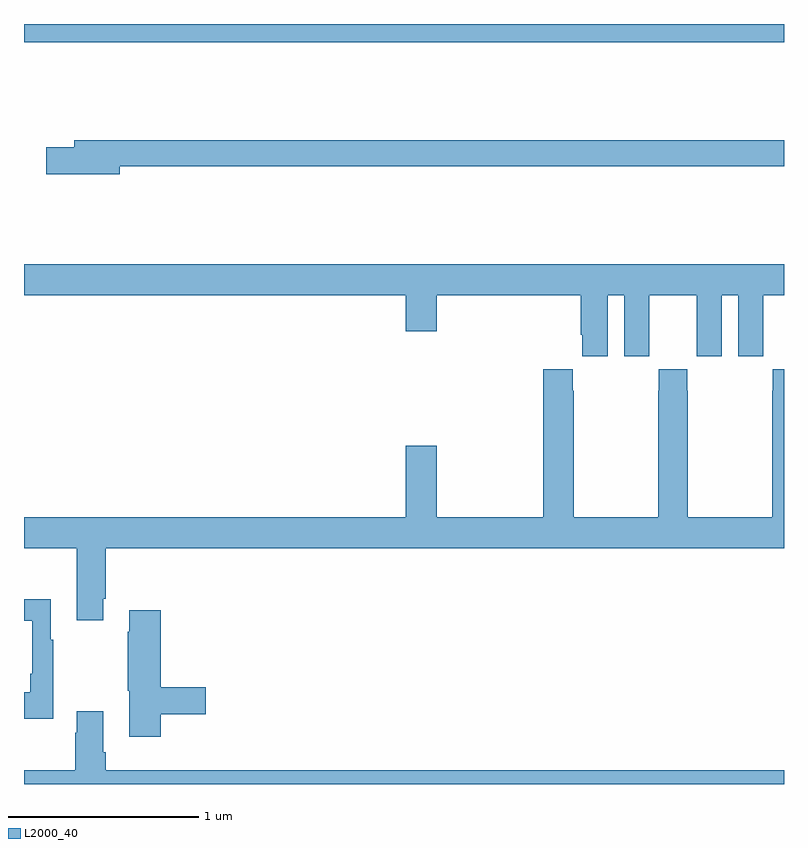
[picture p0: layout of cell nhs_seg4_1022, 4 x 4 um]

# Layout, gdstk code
import gdstk
lib = gdstk.Library(unit=1e-6, precision=1e-09)
def R(c, l, rs):  # rectangles x0, y0, x1, y1
    for r in rs: c.add(gdstk.rectangle(r[:2], r[2:], *l))
def P(c, l, *ps):  # polygons
    for p in ps: c.add(gdstk.Polygon(p, *l))
L2000_40 = (2000, 40)

nhs_seg4_1022 = lib.new_cell('nhs_seg4_1022')
R(nhs_seg4_1022, L2000_40, [(163,812.804,167,812.9)])
P(nhs_seg4_1022, L2000_40, [(163.504,812.152),(167,812.152),(167,812.288),(163.265,812.288),(163.265,812.252),(163.116,812.252),(163.116,812.11),(163.504,812.11)],
  [(166.072,811.472),(166.16,811.472),(166.16,811.152),(166.29,811.152),(166.29,811.264),(166.291,811.264),(166.291,811.472),(166.541,811.472),(166.541,811.264),(166.542,811.264),(166.542,811.152),(166.672,811.152),(166.672,811.472),(166.76,811.472),(166.76,811.152),(166.89,811.152),(166.89,811.264),(166.891,811.264),(166.891,811.472),(167,811.472),(167,811.636),(163,811.636),(163,811.472),(165.008,811.472),(165.008,811.284),(165.172,811.284),(165.172,811.472),(165.929,811.472),(165.929,811.264),(165.938,811.264),(165.938,811.152),(166.072,811.152)],
  [(163.417,809.875),(163.43,809.875),(163.43,810.14),(167,810.14),(167,811.084),(166.941,811.084),(166.941,810.971),(166.939,810.971),(166.939,810.304),(166.494,810.304),(166.494,810.971),(166.491,810.971),(166.491,811.084),(166.341,811.084),(166.341,810.971),(166.339,810.971),(166.339,810.304),(165.894,810.304),(165.894,810.971),(165.887,810.971),(165.887,811.084),(165.734,811.084),(165.734,810.304),(165.172,810.304),(165.172,810.679),(165.008,810.679),(165.008,810.304),(163,810.304),(163,810.14),(163.277,810.14),(163.277,809.763),(163.417,809.763)],
  [(163.153,809.659),(163.141,809.659),(163.141,809.872),(163,809.872),(163,809.759),(163.044,809.759),(163.044,809.479),(163.032,809.479),(163.032,809.383),(163,809.383),(163,809.243),(163.153,809.243)],
  [(163.721,809.266),(163.957,809.266),(163.957,809.408),(163.721,809.408),(163.721,809.815),(163.553,809.815),(163.553,809.702),(163.546,809.702),(163.546,809.391),(163.553,809.391),(163.553,809.148),(163.721,809.148)],
  [(167,808.972),(163.43,808.972),(163.43,809.068),(163.417,809.068),(163.417,809.284),(163.277,809.284),(163.277,809.171),(163.27,809.171),(163.27,808.972),(163,808.972),(163,808.9),(167,808.9)])

lib.write_gds('nhs_seg4_1022.gds')
